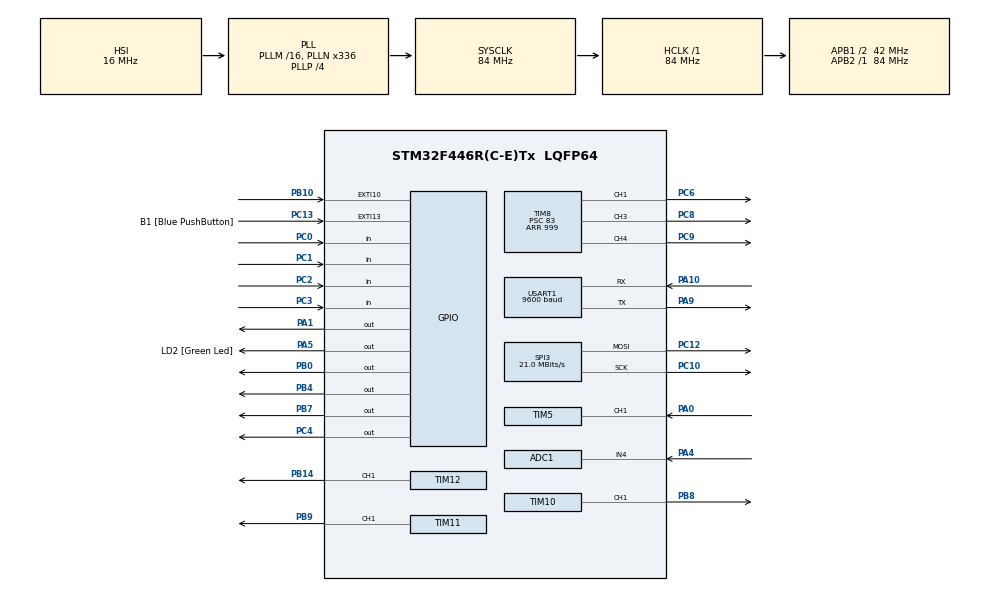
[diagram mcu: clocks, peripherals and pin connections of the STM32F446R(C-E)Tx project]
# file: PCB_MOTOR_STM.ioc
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ADC1.Channel-1\#ChannelRegularConversion=ADC_CHANNEL_4
ADC1.ContinuousConvMode=ENABLE
ADC1.NbrOfConversionFlag=1
ADC1.Rank-1\#ChannelRegularConversion=1
ADC1.SamplingTime-1\#ChannelRegularConversion=ADC_SAMPLETIME_3CYCLES
ADC1.master=1
Dma.Request0=USART1_RX
Dma.USART1_RX.0.Direction=DMA_PERIPH_TO_MEMORY
Dma.USART1_RX.0.FIFOMode=DMA_FIFOMODE_DISABLE
Dma.USART1_RX.0.Instance=DMA2_Stream2
Dma.USART1_RX.0.MemDataAlignment=DMA_MDATAALIGN_BYTE
Dma.USART1_RX.0.MemInc=DMA_MINC_ENABLE
Dma.USART1_RX.0.Mode=DMA_NORMAL
Dma.USART1_RX.0.PeriphDataAlignment=DMA_PDATAALIGN_BYTE
Dma.USART1_RX.0.PeriphInc=DMA_PINC_DISABLE
Dma.USART1_RX.0.Priority=DMA_PRIORITY_LOW
Mcu.Family=STM32F4
Mcu.Name=STM32F446R(C-E)Tx
Mcu.Package=LQFP64
NVIC.DMA2_Stream2_IRQn=true\:0\:0\:false\:false\:true\:false\:true\:true
NVIC.EXTI15_10_IRQn=true\:0\:0\:false\:false\:true\:true\:true\:true
NVIC.PriorityGroup=NVIC_PRIORITYGROUP_0
NVIC.TIM3_IRQn=true\:0\:0\:false\:false\:true\:true\:true\:true
NVIC.TIM4_IRQn=true\:0\:0\:false\:false\:true\:true\:true\:true
NVIC.TIM5_IRQn=true\:0\:0\:false\:false\:true\:true\:true\:true
NVIC.USART1_IRQn=true\:0\:0\:false\:false\:true\:true\:true\:true
PA0-WKUP.Signal=S_TIM5_CH1
PA1.Signal=GPIO_Output
PA10.Mode=Asynchronous
PA10.Signal=USART1_RX
PA13.GPIO_Label=TMS
PA13.Mode=Trace_Asynchronous_SW
PA13.Signal=SYS_JTMS-SWDIO
PA14.GPIO_Label=TCK
PA14.Mode=Trace_Asynchronous_SW
PA14.Signal=SYS_JTCK-SWCLK
PA15.Signal=S_TIM2_CH1_ETR
PA2.Signal=USART2_TX
PA3.Signal=USART2_RX
PA4.Signal=ADCx_IN4
PA5.GPIO_Label=LD2 [Green Led]
PA5.Signal=GPIO_Output
PA9.Mode=Asynchronous
PA9.Signal=USART1_TX
PB0.Signal=GPIO_Output
PB10.GPIO_ModeDefaultEXTI=GPIO_MODE_IT_RISING_FALLING
PB10.Signal=GPXTI10
PB14.Signal=S_TIM12_CH1
PB3.GPIO_Label=SWO
PB3.Mode=Trace_Asynchronous_SW
PB3.Signal=SYS_JTDO-SWO
PB4.Signal=GPIO_Output
PB7.Signal=GPIO_Output
PB8.Signal=S_TIM10_CH1
PB9.Signal=S_TIM11_CH1
PC0.Signal=GPIO_Input
PC1.Signal=GPIO_Input
PC10.Mode=TX_Only_Simplex_Unidirect_Master
PC10.Signal=SPI3_SCK
PC12.Mode=TX_Only_Simplex_Unidirect_Master
PC12.Signal=SPI3_MOSI
PC13.GPIO_Label=B1 [Blue PushButton]
PC13.GPIO_ModeDefaultEXTI=GPIO_MODE_IT_FALLING
PC13.Signal=GPXTI13
PC14-OSC32_IN.Mode=LSE-External-Oscillator
PC14-OSC32_IN.Signal=RCC_OSC32_IN
PC15-OSC32_OUT.Mode=LSE-External-Oscillator
PC15-OSC32_OUT.Signal=RCC_OSC32_OUT
PC2.Signal=GPIO_Input
PC3.Signal=GPIO_Input
PC4.Signal=GPIO_Output
PC6.Signal=S_TIM8_CH1
PC8.Signal=S_TIM8_CH3
PC9.Signal=S_TIM8_CH4
PH0-OSC_IN.Mode=HSE-External-Oscillator
PH0-OSC_IN.Signal=RCC_OSC_IN
PH1-OSC_OUT.Mode=HSE-External-Oscillator
PH1-OSC_OUT.Signal=RCC_OSC_OUT
ProjectManager.HeapSize=0x600
ProjectManager.StackSize=0x400
ProjectManager.TargetToolchain=STM32CubeIDE
RCC.48MHZClocksFreq_Value=84000000
RCC.AHBFreq_Value=84000000
RCC.APB1CLKDivider=RCC_HCLK_DIV2
RCC.APB1Freq_Value=42000000
RCC.APB1TimFreq_Value=84000000
RCC.APB2Freq_Value=84000000
RCC.APB2TimFreq_Value=84000000
RCC.CortexFreq_Value=84000000
RCC.FLatency-AdvancedSettings=FLASH_LATENCY_2
RCC.HCLKFreq_Value=84000000
RCC.HSE_VALUE=8000000
RCC.HSI_VALUE=16000000
RCC.PLLN=336
RCC.PLLP=RCC_PLLP_DIV4
RCC.SYSCLKFreq_VALUE=84000000
RCC.SYSCLKSource=RCC_SYSCLKSOURCE_PLLCLK
RCC.USBFreq_Value=168000000
RCC.VCOOutputFreq_Value=336000000
SH.ADCx_IN4.0=ADC1_IN4,IN4
SH.S_TIM10_CH1.0=TIM10_CH1,PWM Generation1 CH1
SH.S_TIM11_CH1.0=TIM11_CH1,PWM Generation1 CH1
SH.S_TIM12_CH1.0=TIM12_CH1,PWM Generation1 CH1
SH.S_TIM2_CH1_ETR.0=TIM2_CH1
SH.S_TIM5_CH1.0=TIM5_CH1,Input_Capture1_from_TI1
SH.S_TIM8_CH1.0=TIM8_CH1,PWM Generation1 CH1
SH.S_TIM8_CH3.0=TIM8_CH3,PWM Generation3 CH3
SH.S_TIM8_CH4.0=TIM8_CH4,PWM Generation4 CH4
SPI3.BaudRatePrescaler=SPI_BAUDRATEPRESCALER_2
SPI3.CLKPhase=SPI_PHASE_2EDGE
SPI3.CLKPolarity=SPI_POLARITY_HIGH
SPI3.CalculateBaudRate=21.0 MBits/s
SPI3.Direction=SPI_DIRECTION_2LINES
SPI3.Mode=SPI_MODE_MASTER
SPI3.VirtualType=VM_MASTER
TIM10.AutoReloadPreload=TIM_AUTORELOAD_PRELOAD_ENABLE
TIM10.Channel=TIM_CHANNEL_1
TIM10.Period=999
TIM10.Prescaler=83
TIM10.Pulse=0
TIM11.AutoReloadPreload=TIM_AUTORELOAD_PRELOAD_ENABLE
TIM11.Channel=TIM_CHANNEL_1
TIM11.Period=999
TIM11.Prescaler=83
TIM11.Pulse=0
TIM12.Channel-PWM\ Generation1\ CH1=TIM_CHANNEL_1
TIM12.Period=19
TIM12.Prescaler=839
TIM3.Period=9999
TIM3.Prescaler=8399
TIM4.Period=7999
TIM4.Prescaler=8399
TIM5.Channel-Input_Capture1_from_TI1=TIM_CHANNEL_1
TIM5.Prescaler=0
TIM8.AutoReloadPreload=TIM_AUTORELOAD_PRELOAD_ENABLE
TIM8.Channel-PWM\ Generation1\ CH1=TIM_CHANNEL_1
TIM8.Channel-PWM\ Generation3\ CH3=TIM_CHANNEL_3
TIM8.Channel-PWM\ Generation4\ CH4=TIM_CHANNEL_4
TIM8.Period=999
TIM8.Prescaler=83
TIM8.Pulse-PWM\ Generation1\ CH1=0
TIM8.Pulse-PWM\ Generation3\ CH3=0
TIM8.Pulse-PWM\ Generation4\ CH4=0
TIM9.AutoReloadPreload=TIM_AUTORELOAD_PRELOAD_ENABLE
TIM9.Period=999
TIM9.Prescaler=83
USART1.BaudRate=9600
USART1.VirtualMode=VM_ASYNC
VP_TIM10_VS_ClockSourceINT.Mode=Enable_Timer
VP_TIM11_VS_ClockSourceINT.Mode=Enable_Timer
VP_TIM12_VS_ClockSourceINT.Mode=Internal
VP_TIM1_VS_ClockSourceINT.Mode=Internal
VP_TIM2_VS_ClockSourceINT.Mode=Internal
VP_TIM3_VS_ClockSourceINT.Mode=Internal
VP_TIM4_VS_ClockSourceINT.Mode=Internal
VP_TIM5_VS_ClockSourceINT.Mode=Internal
VP_TIM9_VS_ClockSourceINT.Mode=Internal
board=NUCLEO-F446RE

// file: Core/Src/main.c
/* USER CODE BEGIN Header */
/**
  ******************************************************************************
  * @file           : main.c
  * @brief          : Main program body
  ******************************************************************************
  * @attention
  *
  * Copyright (c) 2026 STMicroelectronics.
  * All rights reserved.
  *
  * This software is licensed under terms that can be found in the LICENSE file
  * in the root directory of this software component.
  * If no LICENSE file comes with this software, it is provided AS-IS.
  *
  ******************************************************************************
  */
/* USER CODE END Header */
#include "main.h"
#include "adc.h"
#include "dma.h"
#include "spi.h"
#include "tim.h"
#include "usart.h"
#include "gpio.h"

/* USER CODE BEGIN Includes */
#include "j_st7789.h"
/* USER CODE END Includes */

/* USER CODE BEGIN PD */
#define J_TIMEOUT 10000 // Timeout for sensor reading

/* USER CODE END PD */

/* USER CODE BEGIN PM */
#define TRIG_PIN GPIO_PIN_4
#define TRIG_BUS GPIOB
#define ECHO_PIN GPIO_PIN_10
#define ECHO_BUS GPIOB
#define LED_PIN GPIO_PIN_1
#define LED_BUS GPIOA

#define DIST_WARN 25
#define DIST_DANGER_PCNT 40

#define BT_WATCHDOG_EN
#define METAL_DETECT_EN
#define ULTRASONIC_EN
#define MOTOR_DRIVER_EN
/* USER CODE END PM */

/* USER CODE BEGIN PV */
// Sensor Setup
volatile uint32_t sensor_time = 0;
volatile float distance = 1;

union {  // Last 2 bytes used for checksum
  float fnum;
  uint8_t bytes[7];
} FloatPacket; // Float bytes for distance
int checksum_index = 4; // start of checksum

volatile float sensor_time_seconds = 0;
volatile float sensor_prev_dist_green = 0;
volatile int distance_clamp = 1;
volatile bool update_flag = false; // Update on-screen value
volatile uint8_t lbar_update_flag = 0; // Update loading bar
volatile uint8_t lbar_switch_color_flag = 0;
volatile int prev_distance = 0;

#define SENS_EXP_FACTOR 0.4 // Exponential smoother

#define ADC_REF_VOLTAGE 3.3f
#define ADC_MAX_RANGE 4095
#define N_SAMPLES 100
#define ADC_THRESHOLD 2.4
// ADC Setup
volatile uint32_t adc_val = 0;
volatile float voltage = 0.0f;
volatile float volt_per_bit = ADC_REF_VOLTAGE / (float)ADC_MAX_RANGE;
static float voltage_samples[N_SAMPLES];
static int voltage_index = 0;

/* USER CODE END PV */

void SystemClock_Config(void);

/* USER CODE BEGIN 0 */

// Metal Detector Variables
volatile static uint32_t current_val = 0;
volatile static uint32_t previous_val = 0;
volatile static uint32_t delta_ticks = 1;
static float fast_delta_buf = 48.0f;
static float slow_delta_buf = 48.0f;
static char md_bypass = 0; // Used for debounce after metal trigger event
#define TRIGGER_DELTA 20 // FAST-SLOW DELTA * 100
#define FAST_DELTA_BUF_DAMP 0.2
#define SLOW_DELTA_BUF_DAMP 0.085
#define EXP_SMOOTH(prev_val,new_val,damping_factor) (prev_val * (1-damping_factor) + new_val * (damping_factor));

// Joystick Variables
volatile uint8_t rx_data[4] = {0,0,0,0};
volatile uint16_t joystick_1 = 0;
volatile uint16_t joystick_2 = 0;

volatile uint16_t joystick_1_write_val = (7 << 8);
volatile uint16_t joystick_2_write_val = (7 << 8);
volatile uint16_t joystick_curved_val;
#define MOTOR_SMOOTH 0.4 // 0.. -> 1.0 max

volatile char bt_dat_avail = 0; // Available data on bluetooth
volatile char bt_timeout = 0; // FLag for bluetooth disconnection

/**
 * @brief generate a checksum for the array given at the checksum index
 *
 * @param arr Array to be sifted through
 * @param chksum_ind index of checksum (must allow for 2 bytes of storage on an array), if less than 0, will not store any value on the array
 *
 */
uint16_t Checksum_Generate(uint8_t* arr, int chksum_ind) {
  // Using fletcher 16 algorithm
  uint8_t s1 = 0;
  uint8_t s2 = 0;
  char do_arr_replacement = 1;
  if(chksum_ind < 0) {
    chksum_ind = chksum_ind * -1;
    do_arr_replacement = 0;
  }
  for(int i = 0; i < chksum_ind; i++) {
    s1 += arr[i];
    s2 += s1;
  }
  if(do_arr_replacement) {
    arr[chksum_ind] = s2;
    arr[chksum_ind+1] = s1;
  }
  return ((uint16_t)s2 << 8) + (uint16_t)s1;
}

void HAL_TIM_PeriodElapsedCallback(TIM_HandleTypeDef *htim) {
  if(htim->Instance == TIM3) { // Bluetooth timeout (watchdog)
    bt_timeout = 1;
  }
  if(htim->Instance == TIM4) { // Metal detector timer callback
    md_bypass = 0;
    FloatPacket.bytes[4] = 0;
    __HAL_TIM_SET_COMPARE(&htim12, TIM_CHANNEL_1, 0); // Turn off buzzer
    HAL_TIM_Base_Stop_IT(&htim4); // Stop debounce timer
  }
}

void BT_Watchdog() {
  if(bt_timeout) {
    bt_dat_avail = 0;
    // Turn off all motors
    __HAL_TIM_SET_COMPARE(&htim10, TIM_CHANNEL_1, 0);
    __HAL_TIM_SET_COMPARE(&htim11, TIM_CHANNEL_1, 0);
    __HAL_TIM_SET_COMPARE(&htim8, TIM_CHANNEL_3, 0);
    __HAL_TIM_SET_COMPARE(&htim8, TIM_CHANNEL_1, 0);

    HAL_UART_AbortReceive(&huart1);

    __HAL_UART_CLEAR_OREFLAG(&huart1);
    __HAL_UART_CLEAR_FEFLAG(&huart1);
    __HAL_UART_CLEAR_NEFLAG(&huart1);

    HAL_UARTEx_ReceiveToIdle_DMA(&huart1, rx_data, sizeof(rx_data));
    __HAL_DMA_DISABLE_IT(huart1.hdmarx, DMA_IT_HT);

    while(!bt_dat_avail) {
      // Wait until bluetooth data is received
      // printf("WATCHDOG | Attempting reconnect...\n");
      // HAL_UART_DMAStop(&huart1);
      // HAL_UART_Receive_DMA(&huart1, rx_data, 2);
      HAL_UART_Transmit(&huart1,FloatPacket.bytes,sizeof(FloatPacket.bytes),100);
      HAL_Delay(10);

      if(huart1.RxState != HAL_UART_STATE_BUSY_RX) {
        HAL_UART_AbortReceive(&huart1);

        __HAL_UART_CLEAR_OREFLAG(&huart1);
        __HAL_UART_CLEAR_FEFLAG(&huart1);
        __HAL_UART_CLEAR_NEFLAG(&huart1);

        HAL_UARTEx_ReceiveToIdle_DMA(&huart1, rx_data, sizeof(rx_data));
        __HAL_DMA_DISABLE_IT(huart1.hdmarx, DMA_IT_HT);
      }
    }

    // Make sure we are back in sync with data
    // memset(FloatPacket.bytes,0,4);
    // HAL_UART_Receive_DMA(&huart1, rx_data, 2);

    __HAL_TIM_SET_COUNTER(&htim3,0); // Reset watchdog timer
    bt_timeout = 0;
  }
}

void Metal_Detect_Calibrate(int passes) {
  float frequency_poll = 84000.0f/(float)delta_ticks; // KHz
  slow_delta_buf = frequency_poll;
  int delay_val = 10;
  int bar_progress = 0;
  printf("Calibrating with %d passes (%lfs total time)\n",passes,(float)passes*delay_val/1000.0f);
  for(int i = 0; i < passes; i++) {
    frequency_poll = 84000.0f/(float)delta_ticks; // KHz
    slow_delta_buf = EXP_SMOOTH(slow_delta_buf,frequency_poll,SLOW_DELTA_BUF_DAMP);
    bar_progress = (i * 10) / passes;
    printf("[ ");
    for(int j = 0; j < bar_progress; j++) {
      printf("X");
    }
    for(int j = 0; j < (10 - bar_progress); j++) {
      printf("-");
    }
    printf(" ]\r");
    HAL_Delay(delay_val);
  }
  fast_delta_buf = slow_delta_buf;
  printf("\nCompleted calibration...\n\n");
  HAL_Delay(500);
}

void Metal_Detect_Logic() {
  float frequency_poll = 84000.0f/(float)delta_ticks; // KHz
  int sf_delta = 0;
  if(frequency_poll < 40 || frequency_poll > 55) {
    return; // Invalid values
  }
  slow_delta_buf = EXP_SMOOTH(slow_delta_buf,frequency_poll,SLOW_DELTA_BUF_DAMP);
  fast_delta_buf = EXP_SMOOTH(fast_delta_buf,frequency_poll,FAST_DELTA_BUF_DAMP);
  if(!md_bypass) {
    sf_delta = (int)(fast_delta_buf*100) - (int)(slow_delta_buf*100);

    if(sf_delta > TRIGGER_DELTA) {
      __HAL_TIM_SET_COMPARE(&htim12, TIM_CHANNEL_1, 10);
      HAL_TIM_Base_Start_IT(&htim4);
      __HAL_TIM_SET_COUNTER(&htim4,0);
      FloatPacket.bytes[4] = 1;
      md_bypass = 1;
      fast_delta_buf = slow_delta_buf = (fast_delta_buf + slow_delta_buf) / 2;
    }
  } else {
    printf("\n[ METAL HAS BEEN DETECTED!! ]");
  }
  printf("fast_delta_buf: %lf\nslow_delta_buf: %lf\ndelta: %d\n-----\n",fast_delta_buf,slow_delta_buf,sf_delta);
}

void HAL_TIM_IC_CaptureCallback(TIM_HandleTypeDef *htim) {
    if (htim->Instance == TIM5) { // Metal detector timer
        if (htim->Channel == HAL_TIM_ACTIVE_CHANNEL_1) {

            current_val = HAL_TIM_ReadCapturedValue(htim, TIM_CHANNEL_1);

            delta_ticks = current_val - previous_val;
            if(!delta_ticks) delta_ticks = 1; // Handle div by 0

            previous_val = current_val;
        }
    }
}

void HAL_GPIO_EXTI_Callback(uint16_t GPIO_Pin) {
  if(GPIO_Pin == ECHO_PIN) {
    if(HAL_GPIO_ReadPin(ECHO_BUS,ECHO_PIN) == GPIO_PIN_SET) { // Rising edge echo
      __HAL_TIM_SET_COUNTER(&htim2,0); // Initialize clock to 0
    } else { // Falling edge echo
      sensor_time = __HAL_TIM_GET_COUNTER(&htim2);
      // Prescaler is set to 1MHz, therefore seconds = counter / 10^6
      sensor_time_seconds = sensor_time/(1000000.0f*84);

      update_flag = true;
    }
  }
}

int _write(int file, char *ptr, int len) {
  for(int i = 0; i < len; i++) {
    ITM_SendChar(*ptr++);
  }
  return len;
}

float get_avg_adc() {
  float sum = 0.0f;
  for(int i = 0; i < N_SAMPLES; i++) {
    sum += voltage_samples[i];
  }
  return sum / (float)N_SAMPLES;
}

float add_adc_val(float val) {
  voltage_samples[voltage_index] = val;
  voltage_index += 1;
  voltage_index %= N_SAMPLES;
}

/* USER CODE END 0 */

int main(void)
{

  /* USER CODE BEGIN 1 */
	//HAL_GPIO_ReadPin(GPIO_TypeDef* GPIOx, uint16_t GPIO_Pin);
	//void HAL_GPIO_WritePin(GPIO_TypeDef* GPIOx, uint16_t GPIO_Pin, GPIO_PinState PinState);

  /* USER CODE END 1 */

  /* MCU Configuration--------------------------------------------------------*/

  /* Reset of all peripherals, Initializes the Flash interface and the Systick. */
  HAL_Init();

  /* Configure the system clock */
  SystemClock_Config();

  /* Initialize all configured peripherals */
  MX_GPIO_Init();
  MX_DMA_Init();
  MX_SPI3_Init();
  MX_ADC1_Init();
  MX_TIM2_Init();
  MX_TIM5_Init();
  MX_TIM1_Init();
  MX_USART1_UART_Init();
  MX_TIM9_Init();
  MX_TIM8_Init();
  MX_TIM10_Init();
  MX_TIM11_Init();
  MX_TIM3_Init();
  MX_TIM12_Init();
  MX_TIM4_Init();
  /* USER CODE BEGIN 2 */

  //HAL_TIM_Base_Start(&htim5);

  // Motor PWM's
  HAL_TIM_PWM_Start(&htim8, TIM_CHANNEL_3);
  HAL_TIM_PWM_Start(&htim8, TIM_CHANNEL_1);
  HAL_TIM_PWM_Start(&htim10, TIM_CHANNEL_1);
  HAL_TIM_PWM_Start(&htim11, TIM_CHANNEL_1);

  HAL_TIM_PWM_Start(&htim12, TIM_CHANNEL_1); // Buzzer PWM (Base freq 100KHz / 20 (ARR) to get 2KHz PWM)
  HAL_TIM_Base_Start_IT(&htim1);
  HAL_TIM_Base_Start_IT(&htim3); // 16-bit bluetooth watchdog timer (currently configured for 1s timeout)
  HAL_TIM_IC_Start_IT(&htim5,TIM_CHANNEL_1); // 32-bit metal detector timer
  HAL_TIM_Base_Start(&htim2); // 32-bit ultrasonic timer

  // HAL_UART_Receive_DMA(&huart1, rx_data, sizeof(rx_data)); // Receive 2 bytes and store on the rx_data array

  HAL_UART_AbortReceive(&huart1);

  // 2. Clear any lingering hardware errors caused by the disconnect/static
  __HAL_UART_CLEAR_OREFLAG(&huart1);
  __HAL_UART_CLEAR_FEFLAG(&huart1);
  __HAL_UART_CLEAR_NEFLAG(&huart1);

  HAL_UARTEx_ReceiveToIdle_DMA(&huart1, FloatPacket.bytes, sizeof(FloatPacket.bytes));
  __HAL_DMA_DISABLE_IT(huart1.hdmarx, DMA_IT_HT);

  HAL_UARTEx_ReceiveToIdle_DMA(&huart1,rx_data,sizeof(rx_data));
  __HAL_DMA_DISABLE_IT(huart1.hdmarx,DMA_IT_HT);

  memset(FloatPacket.bytes,0,sizeof(FloatPacket.bytes));

  set_bg_col(J_BLACK);

  //fill_area(0x000F);
  /* USER CODE END 2 */

  /* Infinite loop */
  /* USER CODE BEGIN WHILE */
  // j_master_control.bgcol = J_BLACK;
  // float s, prev_s;
  // s = prev_s = 0;
  // j_counter my_counter = J_CREATE_COUNTER;
  HAL_GPIO_WritePin(LED_BUS,LED_PIN,GPIO_PIN_SET);
  HAL_GPIO_WritePin(GPIOB,GPIO_PIN_0,GPIO_PIN_SET);

  // __HAL_TIM_SET_COMPARE(&htim10, TIM_CHANNEL_1, 500);
  // __HAL_TIM_SET_COMPARE(&htim8, TIM_CHANNEL_3, 500);

  // fill_text(120,80,"Distance (cm)",-1,J_11X18_FONT,J_WHITE,J_CENTER);

  HAL_ADC_Start(&hadc1);
  float test_num = 50;
  memcpy((void*)FloatPacket.bytes,(void*)&test_num,4); // Copy float into the Float Packet

  Metal_Detect_Calibrate(500);

  // __HAL_TIM_SET_COMPARE(&htim2, TIM_CHANNEL_1, 41999999); // 50% duty
  // __HAL_TIM_SET_COMPARE(&htim12, TIM_CHANNEL_1, 10); // 50% duty
  // HAL_Delay(1000);
  // __HAL_TIM_SET_COMPARE(&htim2, TIM_CHANNEL_1, 0);
  // __HAL_TIM_SET_COMPARE(&htim12, TIM_CHANNEL_1, 0);
  // HAL_Delay(1000);

  while(!bt_dat_avail) {
    HAL_Delay(50); // wait for first bluetooth data signal
  }
  printf("bt connection started..\n");

  while (1)

  {
    /* USER CODE END WHILE */

    /* USER CODE BEGIN 3 */
    __HAL_TIM_SET_COUNTER(&htim2,0);
    HAL_GPIO_WritePin(TRIG_BUS,TRIG_PIN,GPIO_PIN_SET); // Set trig pin on

    while(__HAL_TIM_GET_COUNTER(&htim2) < 840) {

    }
    HAL_GPIO_WritePin(TRIG_BUS,TRIG_PIN,GPIO_PIN_RESET); // Set trig pin off after about 1000 microseconds

    HAL_Delay(60); // Super important

    if(update_flag) { // Update for sensor (update_flag)
      update_flag = false;

      distance = (sensor_time_seconds * 34300.0f)/2.0;
      memcpy((void*)FloatPacket.bytes,(void*)&distance,4); // Copy float into the Float Packet
      Checksum_Generate(FloatPacket.bytes,sizeof(FloatPacket.bytes)-2);
      HAL_UART_Transmit(&huart1,FloatPacket.bytes,sizeof(FloatPacket.bytes),100);
      HAL_Delay(10);

      // printf("Sensor Reading: %lf cm\n", FloatPacket.fnum);
    }

    if(bt_dat_avail) {
      __HAL_TIM_SET_COUNTER(&htim3,0); // Reset watchdog timer
    	bt_dat_avail = 0;
    	joystick_1 = rx_data[0] >> 4;
    	joystick_1 = joystick_1 << 8; // Make 16 bit, higher accuracy
    	joystick_2 = rx_data[0] & 0x0F;
    	joystick_2 = joystick_2 << 8;
    	//printf("%d  %d\n", joystick_2, joystick_1);

    	joystick_1_write_val = joystick_1_write_val * MOTOR_SMOOTH + joystick_1 * (1-MOTOR_SMOOTH);
    	joystick_2_write_val = joystick_2_write_val * MOTOR_SMOOTH + joystick_2 * (1-MOTOR_SMOOTH);
    	// printf("Joystick Vals: %d  %d\nHeadlight Data: %d", joystick_2_write_val, joystick_1_write_val, rx_data[1]);
      if(rx_data[1]) {
        HAL_GPIO_WritePin(GPIOB,GPIO_PIN_7,GPIO_PIN_SET);
      } else {
        HAL_GPIO_WritePin(GPIOB,GPIO_PIN_7,GPIO_PIN_RESET);
      }

    	//__HAL_TIM_SET_COMPARE(&htim10, TIM_CHANNEL_1, 800);
    	//__HAL_TIM_SET_COMPARE(&htim11, TIM_CHANNEL_1, 0);

    	// Motor logic
    	// Motor 1

    	if(1) {
    		if(joystick_2_write_val > 2200) { // Forward Left
          //__HAL_TIM_SET_COMPARE(&htim10, TIM_CHANNEL_1, 800);
          joystick_curved_val = 400 + ((joystick_2_write_val - 2200) * 100) / 327;
          __HAL_TIM_SET_COMPARE(&htim10, TIM_CHANNEL_1, joystick_curved_val);
          __HAL_TIM_SET_COMPARE(&htim11, TIM_CHANNEL_1, 0);
        } else if(joystick_2_write_val < 1650) { // Reverse
          joystick_curved_val = 900 - (joystick_2_write_val * 10) / 33;
          __HAL_TIM_SET_COMPARE(&htim10, TIM_CHANNEL_1, 0);
          //__HAL_TIM_SET_COMPARE(&htim11, TIM_CHANNEL_1, 800);
          __HAL_TIM_SET_COMPARE(&htim11, TIM_CHANNEL_1, joystick_curved_val);
        } else { // Stop
          __HAL_TIM_SET_COMPARE(&htim10, TIM_CHANNEL_1, 0);
          __HAL_TIM_SET_COMPARE(&htim11, TIM_CHANNEL_1, 0);
        }
    	}

    	// Motor 2 Right
    	if(1) {
    		if(joystick_1_write_val > 1900) { // Forward
          joystick_curved_val = 400 + ((joystick_1_write_val - 1900) * 10) / 43;
          __HAL_TIM_SET_COMPARE(&htim8, TIM_CHANNEL_3, joystick_curved_val);
          __HAL_TIM_SET_COMPARE(&htim8, TIM_CHANNEL_1, 0);
        } else if(joystick_1_write_val < 1600) { // Reverse
          joystick_curved_val = 900 - (joystick_1_write_val * 5) / 16;
          __HAL_TIM_SET_COMPARE(&htim8, TIM_CHANNEL_3, 0);
          __HAL_TIM_SET_COMPARE(&htim8, TIM_CHANNEL_1, joystick_curved_val);
        } else { // Stop
          __HAL_TIM_SET_COMPARE(&htim8, TIM_CHANNEL_3, 0);
          __HAL_TIM_SET_COMPARE(&htim8, TIM_CHANNEL_1, 0);
        }
    	}
    }

    BT_Watchdog();
    Metal_Detect_Logic();
    HAL_Delay(1);
  }

  /* USER CODE END 3 */
}

void SystemClock_Config(void)
{
  RCC_OscInitTypeDef RCC_OscInitStruct = {0};
  RCC_ClkInitTypeDef RCC_ClkInitStruct = {0};

  /** Configure the main internal regulator output voltage
  */
  __HAL_RCC_PWR_CLK_ENABLE();
  __HAL_PWR_VOLTAGESCALING_CONFIG(PWR_REGULATOR_VOLTAGE_SCALE3);

  /** Initializes the RCC Oscillators according to the specified parameters
  * in the RCC_OscInitTypeDef structure.
  */
  RCC_OscInitStruct.OscillatorType = RCC_OSCILLATORTYPE_HSI;
  RCC_OscInitStruct.HSIState = RCC_HSI_ON;
  RCC_OscInitStruct.HSICalibrationValue = RCC_HSICALIBRATION_DEFAULT;
  RCC_OscInitStruct.PLL.PLLState = RCC_PLL_ON;
  RCC_OscInitStruct.PLL.PLLSource = RCC_PLLSOURCE_HSI;
  RCC_OscInitStruct.PLL.PLLM = 16;
  RCC_OscInitStruct.PLL.PLLN = 336;
  RCC_OscInitStruct.PLL.PLLP = RCC_PLLP_DIV4;
  RCC_OscInitStruct.PLL.PLLQ = 2;
  RCC_OscInitStruct.PLL.PLLR = 2;
  if (HAL_RCC_OscConfig(&RCC_OscInitStruct) != HAL_OK)
  {
    Error_Handler();
  }

  /** Initializes the CPU, AHB and APB buses clocks
  */
  RCC_ClkInitStruct.ClockType = RCC_CLOCKTYPE_HCLK|RCC_CLOCKTYPE_SYSCLK
                              |RCC_CLOCKTYPE_PCLK1|RCC_CLOCKTYPE_PCLK2;
  RCC_ClkInitStruct.SYSCLKSource = RCC_SYSCLKSOURCE_PLLCLK;
  RCC_ClkInitStruct.AHBCLKDivider = RCC_SYSCLK_DIV1;
  RCC_ClkInitStruct.APB1CLKDivider = RCC_HCLK_DIV2;
  RCC_ClkInitStruct.APB2CLKDivider = RCC_HCLK_DIV1;

  if (HAL_RCC_ClockConfig(&RCC_ClkInitStruct, FLASH_LATENCY_2) != HAL_OK)
  {
    Error_Handler();
  }
}

/* USER CODE BEGIN 4 */

// void HAL_UART_RxCpltCallback(UART_HandleTypeDef *huart) {

//     if (huart->Instance == USART1) {
//         bt_dat_avail = 1; // Let the code know we have new data ready
//     }
// }

void HAL_UARTEx_RxEventCallback(UART_HandleTypeDef *huart, uint16_t Size) {
  if(huart->Instance == USART1) {
    int rx_size = sizeof(rx_data);
    uint16_t checksum = Checksum_Generate(rx_data,-1*(rx_size-2));
    if(checksum == ((rx_data[rx_size-2] << 8) + rx_data[rx_size-1])) {
      bt_dat_avail = 1;
      HAL_UARTEx_ReceiveToIdle_DMA(&huart1,rx_data,rx_size);
    } else {
      for(int i = 0; i < rx_size-1; i++) {
        rx_data[i] = rx_data[i+1];
      }
      HAL_UARTEx_ReceiveToIdle_DMA(&huart1,&rx_data[rx_size-1],1);
    }
    __HAL_DMA_DISABLE_IT(huart->hdmarx,DMA_IT_HT);
  }

}

/* USER CODE END 4 */

void Error_Handler(void)
{
  __disable_irq();
  while (1)
  {
  }
}
